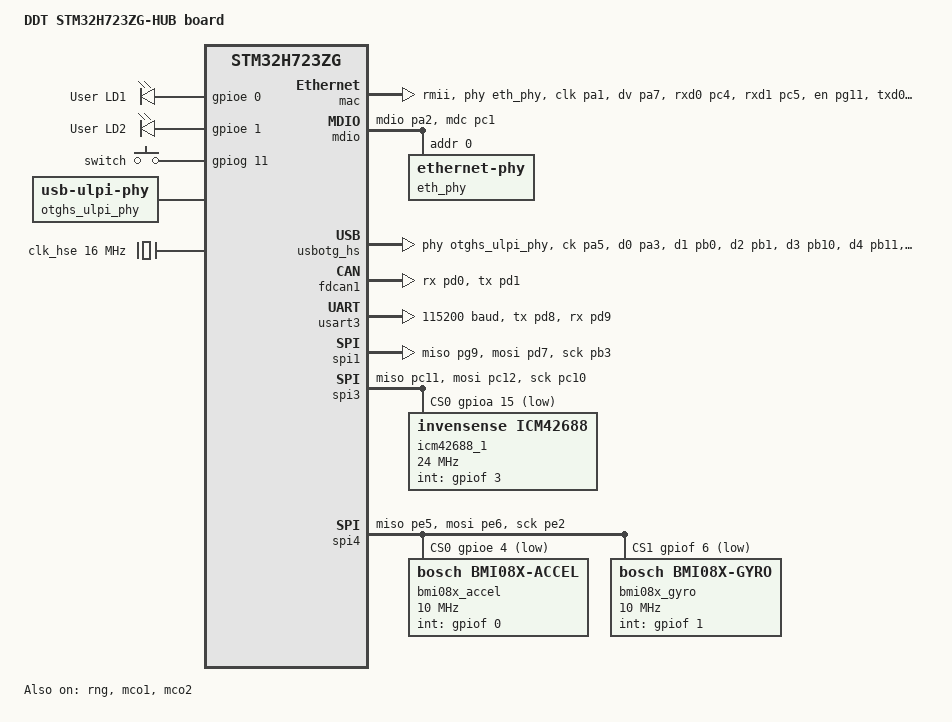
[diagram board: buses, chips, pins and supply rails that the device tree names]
/*
 * Copyright (c) 2020 Alexander Kozhinov <ak.alexander.kozhinov@gmail.com>
 * SPDX-License-Identifier: Apache-2.0
 */

/dts-v1/;
#include "stm32h723Xg.dtsi"
#include "stm32h723zgtx-pinctrl.dtsi"
#include <zephyr/dt-bindings/input/input-event-codes.h>
#include <zephyr/dt-bindings/sensor/icm42688.h>

/ {
	model = "DDT STM32H723ZG-HUB board";
	compatible = "st,stm32h723zg-nucleo";

	chosen {
		zephyr,console = &usart3;
		zephyr,shell-uart = &usart3;
		zephyr,dtcm = &dtcm;
		zephyr,sram = &sram0;
		zephyr,flash = &flash0;
		zephyr,canbus = &fdcan1;
		zephyr,spi1 = &spi1;
		zephyr,spi3 = &spi3;
		zephyr,spi4 = &spi4;
	};

	leds: leds {
		compatible = "gpio-leds";
		led0: led_0 {
			gpios = <&gpioe 0 GPIO_ACTIVE_HIGH>;
			label = "User LD1";
		};
		led1: led_1 {
			gpios = <&gpioe 1 GPIO_ACTIVE_HIGH>;
			label = "User LD2";
		};
	};

	gpio_keys: gpio_keys {
		compatible = "gpio-keys";

		// ts3usb3000mrser: SEL-gpios
		// https://www.ti.com/cn/lit/ds/symlink/ts3usb3000.pdf?ts=1748229945068&ref_url=https%253A%252F%252Flist.szlcsc.com%252Fcatalog%252F618.html%253Fspm%253Dsc.ols.ca5.1-13___sc.gb.hd.dd%2526lcsc_vid%253DFgRdVFEDE1ZWUFxUFgJeVAYFRFQLXgVXQFJbBQVVR1MxVlNSQFheUlNfT1lfUTsOAxUeFF5JWA4cAwEUWRIUCwcVFE8NCAlJGgQDBQEUWA4cAwEUWA0HFBBIHxUDCw%253D%253D
		// switch fdcan2-rx/ulpi-d7
		switch_button: button {
			label = "switch";
			gpios = <&gpiog 11 GPIO_ACTIVE_HIGH>;
			zephyr,code = <INPUT_KEY_0>;
		};
	};

	otghs_ulpi_phy: otghs_ulpis_phy {
		compatible = "usb-ulpi-phy";
		#phy-cells = <0>;
	};

	aliases {
		led0 = &led0;
		led1 = &led1;
	};
};

&clk_lsi {
	status = "okay";
};

&clk_hsi48 {
	status = "okay";
};

&clk_hse {
	hse-bypass;
	clock-frequency = <DT_FREQ_M(16)>; /* STLink 8MHz clock */
	status = "okay";
};

&clk_lse {
	status = "okay";
};

&pll {
	div-m = <1>;
	mul-n = <34>;
	div-p = <1>;
	div-q = <2>;
	div-r = <2>;
	clocks = <&clk_hse>;
	status = "okay";
};

&pll2 {
	div-m = <1>;
	mul-n = <12>;
	div-p = <2>;
	div-q = <1>;
	div-r = <2>;
	clocks = <&clk_hse>;
	status = "okay";
};

&rcc {
	clocks = <&pll>;
	clock-frequency = <DT_FREQ_M(550)>;
	d1cpre = <1>;
	hpre = <2>;    /* HCLK: 275   MHz */
	d1ppre = <2>;  /* APB1: 137.5 MHz */
	d2ppre1 = <2>; /* APB2: 137.5 MHz */
	d2ppre2 = <2>; /* APB3: 137.5 MHz */
	d3ppre = <2>;  /* APB4: 137.5 MHz */
};

&mac {
	status = "okay";
	pinctrl-0 = <&eth_ref_clk_pa1
		     &eth_crs_dv_pa7
		     &eth_rxd0_pc4
		     &eth_rxd1_pc5
		     &eth_tx_en_pg11
		     &eth_txd0_pg13
		     &eth_txd1_pg12>;
	pinctrl-names = "default";
	phy-connection-type = "rmii";
	phy-handle = <&eth_phy>;
};

&mdio {
	status = "okay";
	pinctrl-0 = <&eth_mdio_pa2 &eth_mdc_pc1>;
	pinctrl-names = "default";

	eth_phy: ethernet-phy@0 {
		compatible = "ethernet-phy";
		reg = <0>;
	};
};

zephyr_udc0: &usbotg_hs {
	pinctrl-0 = <&usb_otg_hs_dm_pa11 &usb_otg_hs_dp_pa12>;
	pinctrl-names = "default";
	status = "okay";
};

&rng {
	status = "okay";
};

&fdcan1 {
	pinctrl-0 = <&fdcan1_rx_pd0 &fdcan1_tx_pd1>;
	pinctrl-names = "default";
	clocks = <&rcc STM32_CLOCK_BUS_APB1_2 0x00000100>,
		 <&rcc STM32_SRC_PLL2_Q FDCAN_SEL(2)>;
	status = "okay";
};

&dma1 {
	status = "okay";
};

&dma2 {
	status = "okay";
};

&bdma1 {
	status = "okay";
};

//! Please do not comment the device description of usart
&usart3 {
	pinctrl-0 = <&usart3_tx_pd8 &usart3_rx_pd9>;
	pinctrl-names = "default";
	current-speed = <115200>;
	status = "okay";
};

// to MMC5983MA
&spi1{
	dmas = <&dma1 0 4 STM32_DMA_PERIPH_TX STM32_DMA_FIFO_FULL>,
		<&dma1 0 5 STM32_DMA_PERIPH_RX STM32_DMA_FIFO_FULL>;
	dma-names = "tx", "rx";

	status = "okay";
	pinctrl-0 = <&spi1_miso_pg9 &spi1_mosi_pd7 &spi1_sck_pb3>;
	pinctrl-names = "default";

	cs-gpios = <&gpiog 10 GPIO_ACTIVE_LOW>; // MMC5983MA CS/NSS

	// drive mmc5983ma
};

// to ICM42688
&spi3 {
	dmas = <&dma1 0 2 STM32_DMA_PERIPH_TX STM32_DMA_FIFO_FULL>,
		<&dma1 0 3 STM32_DMA_PERIPH_RX STM32_DMA_FIFO_FULL>;
	dma-names = "tx", "rx";

	status = "okay";
	pinctrl-0 = <&spi3_miso_pc11 &spi3_mosi_pc12 &spi3_sck_pc10>;
	pinctrl-names = "default";

	cs-gpios = <&gpioa 15 GPIO_ACTIVE_LOW>; // ICM42688 CS/NSS

	icm42688_1: icm42688p1@0 {
		compatible = "invensense,icm42688";
		reg = <0>;

		//! PF3 and PD0 are simultaneously used for the int-gpios and is
		//! attempted to be used to implement hardware real-time.
		//Todo: Add PD0
		int-gpios = <&gpiof 3 GPIO_ACTIVE_HIGH>; // PF3 and PD0
		spi-max-frequency = <24000000>;
		accel-pwr-mode = <ICM42688_DT_ACCEL_LN>;
		accel-odr = <ICM42688_DT_ACCEL_ODR_1000>;
		accel-fs = <ICM42688_DT_ACCEL_FS_16>;
		gyro-pwr-mode = <ICM42688_DT_GYRO_LN>;
		gyro-odr = <ICM42688_DT_GYRO_ODR_1000>;
		gyro-fs = <ICM42688_DT_GYRO_FS_2000>;
	};
};

// to BMI088
&spi4 {
	dmas = <&dma1 0 0 STM32_DMA_PERIPH_TX STM32_DMA_FIFO_FULL>,
		<&dma1 0 1 STM32_DMA_PERIPH_RX STM32_DMA_FIFO_FULL>;
	dma-names = "tx", "rx";

	status = "okay";
	pinctrl-0 = <&spi4_miso_pe5 &spi4_mosi_pe6 &spi4_sck_pe2>;
	pinctrl-names = "default";

	cs-gpios = <&gpioe 4 GPIO_ACTIVE_LOW>, // BMI088 CS1
		<&gpiof 6 GPIO_ACTIVE_LOW>; // BMI088 CS2

	bmi08x_accel: bmi08x@0 {
		compatible = "bosch,bmi08x-accel";
		reg = <0>;
		spi-max-frequency = <10000000>;
		int-gpios = <&gpiof 0 GPIO_ACTIVE_HIGH>; // BMI08X_INT1
		int1-map-io = <0x01>; // BMI08X_REG_ACCEL_INT1_MAP(0x56) BMI08X_ACCEL_INTA_ENABLE(0x01)
		int2-map-io = <0x00>; // BMI08X_REG_ACCEL_INT2_MAP(0x57) BMI08X_ACCEL_INTA_DISABLE(0x00)
		int1-conf-io = <0x0A>; // OUTPUT[3] ACTIVE_HIGH[1]
		int2-conf-io = <0x13>; // INPUT[4] ACTIVE_HIGH[1] INT_EDGE[0]
		accel-hz = "800";
		accel-fs = <24>;
		data-sync = <&bmi08x_gyro>;
		status = "okay";
	};

	bmi08x_gyro: bmi08x@1 {
		compatible = "bosch,bmi08x-gyro";
		reg = <1>;
		spi-max-frequency = <10000000>;
		int-gpios = <&gpiof 1 GPIO_ACTIVE_HIGH>; // BMI08X_INT3
		int3-4-map-io = <0x81>;  // INT4/INT3 DATA_READY
		int3-4-conf-io = <0x05>; // INT4/INT3 OUTPUT PUSH_PULL ACTIVE_HIGH
		gyro-hz = "1000_116";
		gyro-fs = <500>; // 500 deg/s, max 8.72 rad/s
		data-sync;
		status = "okay";
	};
};

zephyr_udc0: &usbotg_hs {
	pinctrl-0 = <&usb_otg_hs_ulpi_ck_pa5
			&usb_otg_hs_ulpi_d0_pa3
			&usb_otg_hs_ulpi_d1_pb0
			&usb_otg_hs_ulpi_d2_pb1
			&usb_otg_hs_ulpi_d3_pb10
			&usb_otg_hs_ulpi_d4_pb11
			&usb_otg_hs_ulpi_d5_pb12
			&usb_otg_hs_ulpi_d6_pb13
			&usb_otg_hs_ulpi_d7_pb5
			&usb_otg_hs_ulpi_stp_pc0
			&usb_otg_hs_ulpi_dir_pc2_c
			&usb_otg_hs_ulpi_nxt_pc3_c>;
	pinctrl-names = "default";
	maximum-speed = "high-speed";
	phys = <&otghs_ulpi_phy>;
	status = "okay";
};

// reference "stm32h7_clock.h" on zephyr, also reference “./doc/MCO参考.png”
&mco1 {
	clocks = <&rcc STM32_SRC_PLL1_Q MCO1_SEL(3)>; // pll1_q is 275 Mhz, MCO1_SEL(3) is 011b (3d)
	prescaler = <MCO1_PRE(MCO_PRE_DIV_11)>; // 275/11 = 25 MHz
	pinctrl-0 = <&rcc_mco_1_pa8>;
	pinctrl-names = "default";
	status = "okay";
};

// reference "stm32h7_clock.h" on zephyr, also reference “./doc/MCO参考.png”
&mco2 {
	clocks = <&rcc STM32_SRC_PLL2_P MCO2_SEL(1)>;  // pll2_p is 96 Mhz, MCO2_SEL(1) is 001b (1d)
	prescaler = <MCO2_PRE(MCO_PRE_DIV_4)>; // 96/4 = 24 MHz
	pinctrl-0 = <&rcc_mco_2_pc9>;
	pinctrl-names = "default";
	status = "okay";
};

&flash0 {
	// partitions {
	// 	compatible = "fixed-partitions";
	// 	#address-cells = <1>;
	// 	#size-cells = <1>;
	// 	status = "okay";

	// 	/* 128KB for bootloader */
	// 	boot_partition: partition@0 {
	// 		label = "mcuboot";
	// 		reg = <0x00000000 DT_SIZE_K(128)>;
	// 		read-only;
	// 	};

	// 	/* application image slot: 896KB */
	// 	slot0_partition: partition@20000 {
	// 		label = "image-0";
	// 		reg = <0x00020000 DT_SIZE_K(894)>;
	// 	};

	// 	/* storage: 2KB for static parameters */
	// 	storage_partition: partition@FF8000 {
	// 		label = "storage";
	// 		reg = <0x00FF8000 DT_SIZE_K(2)>;
	// 	};
	// };

	partitions {
		compatible = "fixed-partitions";
		#address-cells = <1>;
		#size-cells = <1>;
		status = "okay";

		/* application image slot: 896KB */
		slot0_partition: partition@0 {
			label = "image-0";
			reg = <0x00000000 DT_SIZE_K(894)>;
		};

		/* storage: 2KB for static parameters */
		storage_partition: partition@FF8000 {
			label = "storage";
			reg = <0x00DF8000 DT_SIZE_K(130)>;
		};
	};
};
